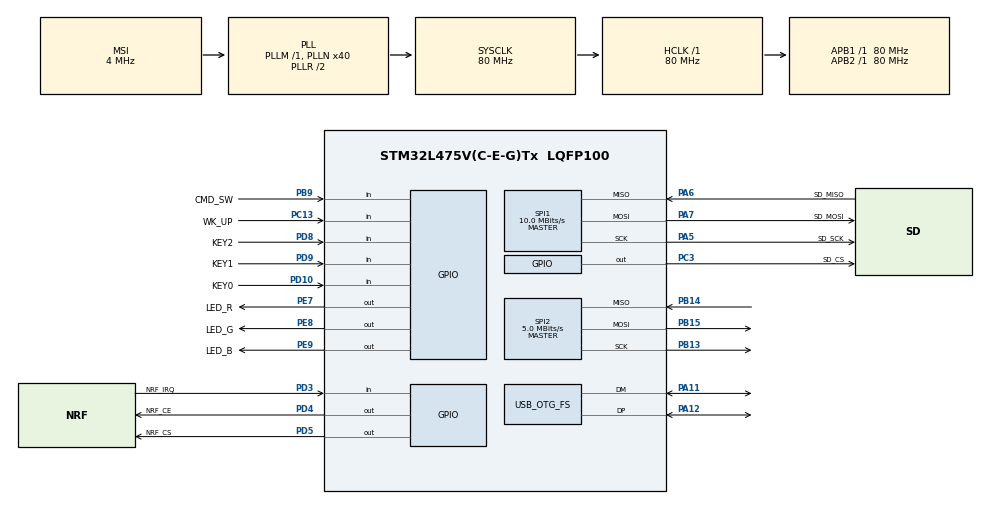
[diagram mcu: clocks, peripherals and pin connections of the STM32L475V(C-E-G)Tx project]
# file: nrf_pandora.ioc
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FATFS._MAX_SS=4096
FATFS._USE_LFN=1
Mcu.Family=STM32L4
Mcu.Name=STM32L475V(C-E-G)Tx
Mcu.Package=LQFP100
NVIC.OTG_FS_IRQn=true\:0\:0\:false\:false\:true\:false\:true
NVIC.PriorityGroup=NVIC_PRIORITYGROUP_4
PA11.Mode=Device_Only
PA11.Signal=USB_OTG_FS_DM
PA12.Mode=Device_Only
PA12.Signal=USB_OTG_FS_DP
PA13\ (JTMS-SWDIO).Mode=Serial_Wire
PA13\ (JTMS-SWDIO).Signal=SYS_JTMS-SWDIO
PA14\ (JTCK-SWCLK).Mode=Serial_Wire
PA14\ (JTCK-SWCLK).Signal=SYS_JTCK-SWCLK
PA5.GPIO_Label=SD_SCK
PA5.Mode=Full_Duplex_Master
PA5.Signal=SPI1_SCK
PA6.GPIO_Label=SD_MISO
PA6.Mode=Full_Duplex_Master
PA6.Signal=SPI1_MISO
PA7.GPIO_Label=SD_MOSI
PA7.Mode=Full_Duplex_Master
PA7.Signal=SPI1_MOSI
PB13.Mode=Full_Duplex_Master
PB13.Signal=SPI2_SCK
PB14.Mode=Full_Duplex_Master
PB14.Signal=SPI2_MISO
PB15.Mode=Full_Duplex_Master
PB15.Signal=SPI2_MOSI
PB9.GPIO_Label=CMD_SW
PB9.GPIO_PuPd=GPIO_PULLDOWN
PB9.Signal=GPIO_Input
PC13.GPIO_Label=WK_UP
PC13.Signal=GPIO_Input
PC3.GPIO_Label=SD_CS
PC3.PinState=GPIO_PIN_SET
PC3.Signal=GPIO_Output
PD10.GPIO_Label=KEY0
PD10.Signal=GPIO_Input
PD3.GPIO_Label=NRF_IRQ
PD3.Signal=GPIO_Input
PD4.GPIO_Label=NRF_CE
PD4.Signal=GPIO_Output
PD5.GPIO_Label=NRF_CS
PD5.PinState=GPIO_PIN_SET
PD5.Signal=GPIO_Output
PD8.GPIO_Label=KEY2
PD8.Signal=GPIO_Input
PD9.GPIO_Label=KEY1
PD9.Signal=GPIO_Input
PE7.GPIO_Label=LED_R
PE7.PinState=GPIO_PIN_SET
PE7.Signal=GPIO_Output
PE8.GPIO_Label=LED_G
PE8.PinState=GPIO_PIN_SET
PE8.Signal=GPIO_Output
PE9.GPIO_Label=LED_B
PE9.PinState=GPIO_PIN_SET
PE9.Signal=GPIO_Output
PH0-OSC_IN\ (PH0).Mode=HSE-External-Oscillator
PH0-OSC_IN\ (PH0).Signal=RCC_OSC_IN
PH1-OSC_OUT\ (PH1).Mode=HSE-External-Oscillator
PH1-OSC_OUT\ (PH1).Signal=RCC_OSC_OUT
ProjectManager.HeapSize=0x600
ProjectManager.StackSize=0x400
ProjectManager.TargetToolchain=Makefile
RCC.ADCFreq_Value=48000000
RCC.AHBFreq_Value=80000000
RCC.APB1Freq_Value=80000000
RCC.APB1TimFreq_Value=80000000
RCC.APB2Freq_Value=80000000
RCC.APB2TimFreq_Value=80000000
RCC.CortexFreq_Value=80000000
RCC.HCLKFreq_Value=80000000
RCC.HSE_VALUE=8000000
RCC.HSI_VALUE=16000000
RCC.LSE_VALUE=32768
RCC.MSI_VALUE=4000000
RCC.PLLN=40
RCC.PLLSAI1N=24
RCC.SYSCLKFreq_VALUE=80000000
RCC.SYSCLKSource=RCC_SYSCLKSOURCE_PLLCLK
RCC.USBFreq_Value=48000000
RCC.VCOOutputFreq_Value=160000000
SPI1.BaudRatePrescaler=SPI_BAUDRATEPRESCALER_8
SPI1.CLKPhase=SPI_PHASE_2EDGE
SPI1.CLKPolarity=SPI_POLARITY_HIGH
SPI1.CalculateBaudRate=10.0 MBits/s
SPI1.DataSize=SPI_DATASIZE_8BIT
SPI1.Direction=SPI_DIRECTION_2LINES
SPI1.Mode=SPI_MODE_MASTER
SPI1.VirtualType=VM_MASTER
SPI2.BaudRatePrescaler=SPI_BAUDRATEPRESCALER_16
SPI2.CalculateBaudRate=5.0 MBits/s
SPI2.DataSize=SPI_DATASIZE_8BIT
SPI2.Direction=SPI_DIRECTION_2LINES
SPI2.Mode=SPI_MODE_MASTER
SPI2.VirtualType=VM_MASTER
USB_DEVICE.CLASS_NAME_FS=CDC
USB_DEVICE.VirtualMode=Cdc
USB_DEVICE.VirtualModeFS=Cdc_FS
USB_OTG_FS.VirtualMode=Device_Only
VP_FATFS_VS_Generic.Mode=User_defined
VP_USB_DEVICE_VS_USB_DEVICE_CDC_FS.Mode=CDC_FS
board=custom

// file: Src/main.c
/* USER CODE BEGIN Header */
/**
  ******************************************************************************
  * @file           : main.c
  * @brief          : Main program body
  ******************************************************************************
  * @attention
  *
  * <h2><center>&copy; Copyright (c) 2019 STMicroelectronics.
  * All rights reserved.</center></h2>
  *
  * This software component is licensed by ST under Ultimate Liberty license
  * SLA0044, the "License"; You may not use this file except in compliance with
  * the License. You may obtain a copy of the License at:
  *                             www.st.com/SLA0044
  *
  ******************************************************************************
  */
/* USER CODE END Header */

#include "main.h"
#include "fatfs.h"
#include "usb_device.h"

/* USER CODE BEGIN Includes */
#include "mavlink.h"
#include "MY_NRF24.h"
/* USER CODE END Includes */

SPI_HandleTypeDef hspi1;
SPI_HandleTypeDef hspi2;

void SystemClock_Config(void);
static void MX_GPIO_Init(void);
static void MX_SPI1_Init(void);
static void MX_SPI2_Init(void);

/* USER CODE BEGIN 0 */
uint64_t RxpipeAddrs = 0x11223344AA;
char myRxData[50];
char myAckPayload[32] = "Ack by HandDevice!";
/* USER CODE END 0 */

int main(void)
{

  /* MCU Configuration--------------------------------------------------------*/

  /* Reset of all peripherals, Initializes the Flash interface and the Systick. */
  HAL_Init();

  /* Configure the system clock */
  SystemClock_Config();

  /* Initialize all configured peripherals */
  MX_GPIO_Init();
  MX_FATFS_Init();
  MX_USB_DEVICE_Init();
  MX_SPI1_Init();
  MX_SPI2_Init();
  /* USER CODE BEGIN 2 */
  NRF24_begin(NRF_CE_GPIO_Port, NRF_CS_Pin, NRF_CE_Pin, hspi2);
  printRadioSettings();

  NRF24_setAutoAck(true);
  NRF24_setChannel(52);
  NRF24_setPayloadSize(32);
  NRF24_openReadingPipe(1, RxpipeAddrs);

  NRF24_enableDynamicPayloads();
  NRF24_enableAckPayload();

  NRF24_startListening();
  /* USER CODE END 2 */

  /* Infinite loop */
  /* USER CODE BEGIN WHILE */
  while (1)
  {
    static mavlink_simple_t packet;

    if(NRF24_available()) {
      NRF24_read(myRxData, 32);
      uint8_t i;
      mavlink_message_t msg_receive;
      mavlink_status_t mav_status;
      for(i=0; i<32; i++) {
        if(mavlink_parse_char(0, myRxData[i], &msg_receive, &mav_status)) {
          switch (msg_receive.msgid) {

          case MAVLINK_MSG_ID_SIMPLE: {
            mavlink_msg_simple_decode(&msg_receive, &packet);

            uint8_t data = 0;
            if(HAL_GPIO_ReadPin(WK_UP_GPIO_Port, WK_UP_Pin) == GPIO_PIN_SET){
              data |= 0x03;
            }else if(HAL_GPIO_ReadPin(KEY0_GPIO_Port, KEY0_Pin) == GPIO_PIN_RESET){
              if(HAL_GPIO_ReadPin(CMD_SW_GPIO_Port, CMD_SW_Pin) == GPIO_PIN_RESET){
                data |= 0x00;
              } else {
                data |= 0x05;
              }
            }else if(HAL_GPIO_ReadPin(KEY0_GPIO_Port, KEY1_Pin) == GPIO_PIN_RESET){
              data |= 0x01;
            }else if(HAL_GPIO_ReadPin(KEY0_GPIO_Port, KEY2_Pin) == GPIO_PIN_RESET){
              if(HAL_GPIO_ReadPin(CMD_SW_GPIO_Port, CMD_SW_Pin) == GPIO_PIN_RESET){
                data |= 0x02;
              } else {
                data |= 0x06;
              }
            }else{
              data |= 0x07;
            }
            mavlink_message_t msg_ack;
            mavlink_msg_simple_pack(0, 0, &msg_ack, data);
            int len = mavlink_msg_to_send_buffer((uint8_t *)myAckPayload, &msg_ack);
            NRF24_writeAckPayload(1, myAckPayload, len);

            char buffer[32];

            sprintf(buffer, "%d\r\n", packet.data);
            VCPSend((uint8_t *)buffer, strlen(buffer));

            break;
          }
          }
        }
      }
    }
    /* USER CODE END WHILE */

  }
}

void SystemClock_Config(void)
{
  RCC_OscInitTypeDef RCC_OscInitStruct = {0};
  RCC_ClkInitTypeDef RCC_ClkInitStruct = {0};
  RCC_PeriphCLKInitTypeDef PeriphClkInit = {0};

  /** Initializes the CPU, AHB and APB busses clocks
  */
  RCC_OscInitStruct.OscillatorType = RCC_OSCILLATORTYPE_MSI;
  RCC_OscInitStruct.MSIState = RCC_MSI_ON;
  RCC_OscInitStruct.MSICalibrationValue = 0;
  RCC_OscInitStruct.MSIClockRange = RCC_MSIRANGE_6;
  RCC_OscInitStruct.PLL.PLLState = RCC_PLL_ON;
  RCC_OscInitStruct.PLL.PLLSource = RCC_PLLSOURCE_MSI;
  RCC_OscInitStruct.PLL.PLLM = 1;
  RCC_OscInitStruct.PLL.PLLN = 40;
  RCC_OscInitStruct.PLL.PLLP = RCC_PLLP_DIV7;
  RCC_OscInitStruct.PLL.PLLQ = RCC_PLLQ_DIV2;
  RCC_OscInitStruct.PLL.PLLR = RCC_PLLR_DIV2;
  if (HAL_RCC_OscConfig(&RCC_OscInitStruct) != HAL_OK)
  {
    Error_Handler();
  }
  /** Initializes the CPU, AHB and APB busses clocks
  */
  RCC_ClkInitStruct.ClockType = RCC_CLOCKTYPE_HCLK|RCC_CLOCKTYPE_SYSCLK
                              |RCC_CLOCKTYPE_PCLK1|RCC_CLOCKTYPE_PCLK2;
  RCC_ClkInitStruct.SYSCLKSource = RCC_SYSCLKSOURCE_PLLCLK;
  RCC_ClkInitStruct.AHBCLKDivider = RCC_SYSCLK_DIV1;
  RCC_ClkInitStruct.APB1CLKDivider = RCC_HCLK_DIV1;
  RCC_ClkInitStruct.APB2CLKDivider = RCC_HCLK_DIV1;

  if (HAL_RCC_ClockConfig(&RCC_ClkInitStruct, FLASH_LATENCY_4) != HAL_OK)
  {
    Error_Handler();
  }
  PeriphClkInit.PeriphClockSelection = RCC_PERIPHCLK_USB;
  PeriphClkInit.UsbClockSelection = RCC_USBCLKSOURCE_PLLSAI1;
  PeriphClkInit.PLLSAI1.PLLSAI1Source = RCC_PLLSOURCE_MSI;
  PeriphClkInit.PLLSAI1.PLLSAI1M = 1;
  PeriphClkInit.PLLSAI1.PLLSAI1N = 24;
  PeriphClkInit.PLLSAI1.PLLSAI1P = RCC_PLLP_DIV7;
  PeriphClkInit.PLLSAI1.PLLSAI1Q = RCC_PLLQ_DIV2;
  PeriphClkInit.PLLSAI1.PLLSAI1R = RCC_PLLR_DIV2;
  PeriphClkInit.PLLSAI1.PLLSAI1ClockOut = RCC_PLLSAI1_48M2CLK;
  if (HAL_RCCEx_PeriphCLKConfig(&PeriphClkInit) != HAL_OK)
  {
    Error_Handler();
  }
  /** Configure the main internal regulator output voltage
  */
  if (HAL_PWREx_ControlVoltageScaling(PWR_REGULATOR_VOLTAGE_SCALE1) != HAL_OK)
  {
    Error_Handler();
  }
}

static void MX_SPI1_Init(void)
{

  /* SPI1 parameter configuration*/
  hspi1.Instance = SPI1;
  hspi1.Init.Mode = SPI_MODE_MASTER;
  hspi1.Init.Direction = SPI_DIRECTION_2LINES;
  hspi1.Init.DataSize = SPI_DATASIZE_8BIT;
  hspi1.Init.CLKPolarity = SPI_POLARITY_HIGH;
  hspi1.Init.CLKPhase = SPI_PHASE_2EDGE;
  hspi1.Init.NSS = SPI_NSS_SOFT;
  hspi1.Init.BaudRatePrescaler = SPI_BAUDRATEPRESCALER_8;
  hspi1.Init.FirstBit = SPI_FIRSTBIT_MSB;
  hspi1.Init.TIMode = SPI_TIMODE_DISABLE;
  hspi1.Init.CRCCalculation = SPI_CRCCALCULATION_DISABLE;
  hspi1.Init.CRCPolynomial = 7;
  hspi1.Init.CRCLength = SPI_CRC_LENGTH_DATASIZE;
  hspi1.Init.NSSPMode = SPI_NSS_PULSE_DISABLE;
  if (HAL_SPI_Init(&hspi1) != HAL_OK)
  {
    Error_Handler();
  }

}

static void MX_SPI2_Init(void)
{

  /* SPI2 parameter configuration*/
  hspi2.Instance = SPI2;
  hspi2.Init.Mode = SPI_MODE_MASTER;
  hspi2.Init.Direction = SPI_DIRECTION_2LINES;
  hspi2.Init.DataSize = SPI_DATASIZE_8BIT;
  hspi2.Init.CLKPolarity = SPI_POLARITY_LOW;
  hspi2.Init.CLKPhase = SPI_PHASE_1EDGE;
  hspi2.Init.NSS = SPI_NSS_SOFT;
  hspi2.Init.BaudRatePrescaler = SPI_BAUDRATEPRESCALER_16;
  hspi2.Init.FirstBit = SPI_FIRSTBIT_MSB;
  hspi2.Init.TIMode = SPI_TIMODE_DISABLE;
  hspi2.Init.CRCCalculation = SPI_CRCCALCULATION_DISABLE;
  hspi2.Init.CRCPolynomial = 7;
  hspi2.Init.CRCLength = SPI_CRC_LENGTH_DATASIZE;
  hspi2.Init.NSSPMode = SPI_NSS_PULSE_ENABLE;
  if (HAL_SPI_Init(&hspi2) != HAL_OK)
  {
    Error_Handler();
  }

}

static void MX_GPIO_Init(void)
{
  GPIO_InitTypeDef GPIO_InitStruct = {0};

  /* GPIO Ports Clock Enable */
  __HAL_RCC_GPIOC_CLK_ENABLE();
  __HAL_RCC_GPIOH_CLK_ENABLE();
  __HAL_RCC_GPIOA_CLK_ENABLE();
  __HAL_RCC_GPIOE_CLK_ENABLE();
  __HAL_RCC_GPIOB_CLK_ENABLE();
  __HAL_RCC_GPIOD_CLK_ENABLE();

  /*Configure GPIO pin Output Level */
  HAL_GPIO_WritePin(SD_CS_GPIO_Port, SD_CS_Pin, GPIO_PIN_SET);

  /*Configure GPIO pin Output Level */
  HAL_GPIO_WritePin(GPIOE, LED_R_Pin|LED_G_Pin|LED_B_Pin, GPIO_PIN_SET);

  /*Configure GPIO pin Output Level */
  HAL_GPIO_WritePin(NRF_CE_GPIO_Port, NRF_CE_Pin, GPIO_PIN_RESET);

  /*Configure GPIO pin Output Level */
  HAL_GPIO_WritePin(NRF_CS_GPIO_Port, NRF_CS_Pin, GPIO_PIN_SET);

  /*Configure GPIO pin : WK_UP_Pin */
  GPIO_InitStruct.Pin = WK_UP_Pin;
  GPIO_InitStruct.Mode = GPIO_MODE_INPUT;
  GPIO_InitStruct.Pull = GPIO_NOPULL;
  HAL_GPIO_Init(WK_UP_GPIO_Port, &GPIO_InitStruct);

  /*Configure GPIO pin : SD_CS_Pin */
  GPIO_InitStruct.Pin = SD_CS_Pin;
  GPIO_InitStruct.Mode = GPIO_MODE_OUTPUT_PP;
  GPIO_InitStruct.Pull = GPIO_NOPULL;
  GPIO_InitStruct.Speed = GPIO_SPEED_FREQ_LOW;
  HAL_GPIO_Init(SD_CS_GPIO_Port, &GPIO_InitStruct);

  /*Configure GPIO pins : LED_R_Pin LED_G_Pin LED_B_Pin */
  GPIO_InitStruct.Pin = LED_R_Pin|LED_G_Pin|LED_B_Pin;
  GPIO_InitStruct.Mode = GPIO_MODE_OUTPUT_PP;
  GPIO_InitStruct.Pull = GPIO_NOPULL;
  GPIO_InitStruct.Speed = GPIO_SPEED_FREQ_LOW;
  HAL_GPIO_Init(GPIOE, &GPIO_InitStruct);

  /*Configure GPIO pins : KEY2_Pin KEY1_Pin KEY0_Pin NRF_IRQ_Pin */
  GPIO_InitStruct.Pin = KEY2_Pin|KEY1_Pin|KEY0_Pin|NRF_IRQ_Pin;
  GPIO_InitStruct.Mode = GPIO_MODE_INPUT;
  GPIO_InitStruct.Pull = GPIO_NOPULL;
  HAL_GPIO_Init(GPIOD, &GPIO_InitStruct);

  /*Configure GPIO pins : NRF_CE_Pin NRF_CS_Pin */
  GPIO_InitStruct.Pin = NRF_CE_Pin|NRF_CS_Pin;
  GPIO_InitStruct.Mode = GPIO_MODE_OUTPUT_PP;
  GPIO_InitStruct.Pull = GPIO_NOPULL;
  GPIO_InitStruct.Speed = GPIO_SPEED_FREQ_LOW;
  HAL_GPIO_Init(GPIOD, &GPIO_InitStruct);

  /*Configure GPIO pin : CMD_SW_Pin */
  GPIO_InitStruct.Pin = CMD_SW_Pin;
  GPIO_InitStruct.Mode = GPIO_MODE_INPUT;
  GPIO_InitStruct.Pull = GPIO_PULLDOWN;
  HAL_GPIO_Init(CMD_SW_GPIO_Port, &GPIO_InitStruct);

}

void Error_Handler(void)
{
}

/************************ (C) COPYRIGHT STMicroelectronics *****END OF FILE****/
